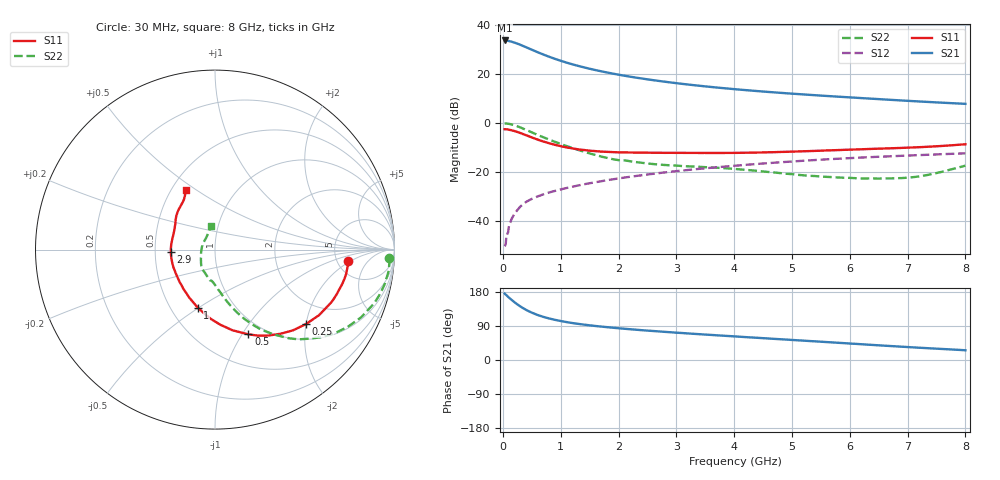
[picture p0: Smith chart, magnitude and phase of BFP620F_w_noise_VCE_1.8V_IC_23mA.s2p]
! Infineon Technologies  Discrete & RF Semiconductors
! BFP620F
! VCE =  1.8 V,  IC =  23 mA
! Common Emitter S-Parameters:  Dec 2014
# GHz  S  MA  R  50
!  f  S11  S21  S12  S22
! GHz  MAG  ANG  MAG  ANG  MAG  ANG  MAG  ANG
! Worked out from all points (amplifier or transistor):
!   95 points, 30 MHz to 8 GHz, reference 50 ohm
!   highest |S21| = 33.6 dB at 30 MHz (marker M1)
!   |S21| within 3 dB of that: start of sweep to 425.4 MHz
!   unconditionally stable (mu >= 1): 2.781 GHz to end of sweep
!   at 300 MHz: K = 0.32, MSG = 33.0 dB, |S12| = -34.1 dB
!   at 3.3 GHz: K = 1.02, MAG = 16.4 dB, |S12| = -18.9 dB
!   at 8 GHz: K = 1.06, MAG = 8.5 dB, |S12| = -12.4 dB
!   lowest NFmin = 0.94 dB at 450 MHz
!   S11 on the Smith chart (normalised r, x): 30 MHz: 6.38, -1.76; 250 MHz: 1.37, -2.00; 500 MHz: 0.84, -1.07; 1 GHz: 0.68, -0.49; 2.9 GHz: 0.60, -0.01; 8 GHz: 0.59, +0.45
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0.03  0.7459 -4.7  47.83 175.4  0.0031 101.2  0.9699 -2.9
0.08  0.738 -13.4  47.19 168.2  0.0057 78.8  0.9668 -10.0
0.14  0.7147 -23.2  45.39 160.0  0.0103 80.0  0.9395 -17.8
0.2  0.6849 -32.3  43.21 152.6  0.0141 74.1  0.897 -24.9
0.25  0.6551 -39.3  41.24 146.8  0.0168 72.5  0.8556 -30.2
0.3  0.6254 -46.0  39.13 141.6  0.0198 70.9  0.8128 -35.1
0.35  0.5938 -52.2  36.91 136.8  0.0221 68.5  0.7674 -39.5
0.4  0.5633 -58.2  34.91 132.4  0.0246 67.5  0.7234 -43.3
0.5  0.5076 -68.5  31.01 125.0  0.0284 64.8  0.6444 -50.1
0.6  0.4592 -77.9  27.61 118.8  0.0319 63.5  0.5718 -55.6
0.7  0.4194 -86.0  24.73 113.8  0.0352 62.4  0.5113 -60.3
0.8  0.3867 -93.5  22.28 109.6  0.0384 62.3  0.4583 -64.1
1  0.3372 -106.6  18.46 102.9  0.0443 61.4  0.3744 -70.4
1.2  0.3039 -118.1  15.67 97.6  0.0502 61.3  0.3108 -75.7
1.4  0.2819 -128.4  13.57 93.4  0.0563 61.0  0.2609 -80.5
2  0.2524 -153.2  9.621 83.8  0.0743 60.1  0.1749 -96.0
2.7  0.2471 -173.1  7.166 75.4  0.0953 57.7  0.1423 -112.7
2.9  0.2466 -177.5  6.68 73.2  0.1014 56.8  0.1372 -116.6
4.1  0.2467 160.3  4.77 61.4  0.1372 50.7  0.1135 -132.8
5.4  0.2701 144.5  3.674 49.2  0.1758 42.7  0.083 -160.2
6.7  0.3047 130.4  2.96 36.9  0.2096 33.7  0.0743 153.0
8  0.3687 116.4  2.449 25.7  0.2408 24.9  0.1351 100.2
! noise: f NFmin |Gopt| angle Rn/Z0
0.45  0.94  0.04  2  0.2
0.9  0.98  0.02  6  0.17
1.5  1  0.01  -9  0.15
1.8  1.02  0.01  -17  0.16
1.9  1.02  0  51  0.16
2.4  1.05  0.03  -153  0.15
3.5  1.13  0.06  -161  0.15
5.5  1.28  0.17  234  0.11
6  1.32  0.16  256  0.14
